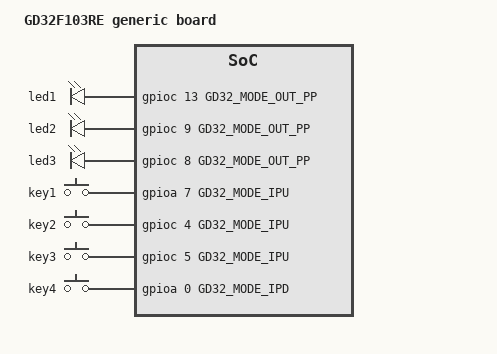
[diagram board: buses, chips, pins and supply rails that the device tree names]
/dts-v1/;

#include "gd32f103re.dtsi"

/ {
	model = "GD32F103RE generic board";
	compatible = "gd,gd32f103re-generic";

	leds {
		compatible = "gd,gpio-leds";
		status = "okay";
		count = <3>;              

		led1 {
			gpios = <&gpioc 13 GD32_MODE_OUT_PP>;
			init-level = <GD32_LEVEL_HIGH>;
		};

		led2 {
			gpios = <&gpioc 9 GD32_MODE_OUT_PP>;
			init-level = <GD32_LEVEL_HIGH>;
		};

		led3 {
			gpios = <&gpioc 8 GD32_MODE_OUT_PP>;
			init-level = <GD32_LEVEL_HIGH>;
		};
	};

	keys {
		compatible = "gd,gpio-keys";
		status = "okay";
		count = <4>;                     

		key1 {
			gpios = <&gpioa 7 GD32_MODE_IPU>;
			active-level = <GD32_LEVEL_LOW>;
		};

		key2 {
			gpios = <&gpioc 4 GD32_MODE_IPU>;
			active-level = <GD32_LEVEL_LOW>;
		};

		key3 {
			gpios = <&gpioc 5 GD32_MODE_IPU>;
			active-level = <GD32_LEVEL_LOW>;
		};

		key4 {
			gpios = <&gpioa 0 GD32_MODE_IPD>;
			active-level = <GD32_LEVEL_HIGH>;
		};
	};

	matrix-keys {
		compatible = "gd,gpio-matrix-keys";
		status = "okay";
		row-count = <4>;                    
		col-count = <3>;              

		row-gpios = <&gpioc 0 GD32_MODE_OUT_PP>,
			    <&gpioc 1 GD32_MODE_OUT_PP>,
			    <&gpioc 2 GD32_MODE_OUT_PP>,
			    <&gpioc 3 GD32_MODE_OUT_PP>;

		col-gpios = <&gpioa 4 GD32_MODE_IPU>,
			    <&gpioa 5 GD32_MODE_IPU>,
			    <&gpioa 6 GD32_MODE_IPU>;
	};

	uarts {
		compatible = "gd,gd32-uart";
		status = "okay";
		count = <3>;

		uart1 {
			pgroup = <&usart0 0>;
			baud-rate = <115200>;
			data-bits = <GD32_UART_DATA_8>;
			stop-bits = <GD32_UART_STOP_1>;
			parity = <GD32_UART_PM_NONE>;
			dma-mode = <1>;
			int-mode = <GD32_UART_INT_IDLE>;
			rx-pull = <0>;
			rx-buf-size = <128>;
			console = <1>;
		};

		uart2 {
			pgroup = <&usart1 0>;
		 	baud-rate = <9600>;
		 	dma-mode = <0>;
		 	int-mode = <GD32_UART_INT_RX_IDLE>;
		 	rx-buf-size = <64>;
		};
		 
		uart3 {
		 	tx-gpios = <&gpioc 10 GD32_MODE_AF_PP>;
		 	rx-gpios = <&gpioc 11 GD32_MODE_IN_FLOATING>;
		 	uart-idx = <2>;
		 	remap = <1>;
		 	dma-mode = <0>;
		 	int-mode = <GD32_UART_INT_NONE>;
		};
	};
};
